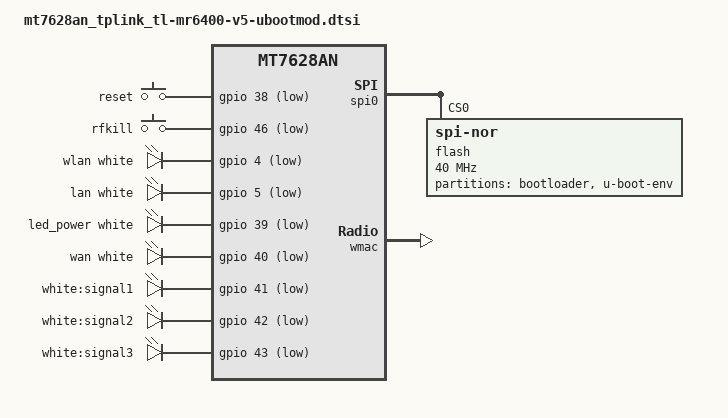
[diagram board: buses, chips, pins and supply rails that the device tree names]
// SPDX-License-Identifier: GPL-2.0-or-later OR MIT

#include "mt7628an.dtsi"

#include <dt-bindings/gpio/gpio.h>
#include <dt-bindings/input/input.h>
#include <dt-bindings/leds/common.h>

/ {
	chosen {
		bootargs = "console=ttyS0,115200";
	};

	aliases {
		led-boot = &led_power;
		led-failsafe = &led_power;
		led-running = &led_power;
		led-upgrade = &led_power;
	};

	keys {
		compatible = "gpio-keys";

		reset {
			label = "reset";
			gpios = <&gpio 38 GPIO_ACTIVE_LOW>;
			linux,code = <KEY_RESTART>;
		};

		rfkill {
			label = "rfkill";
			gpios = <&gpio 46 GPIO_ACTIVE_LOW>;
			linux,code = <KEY_RFKILL>;
		};
	};

	leds {
		compatible = "gpio-leds";

		wlan {
			function = LED_FUNCTION_WLAN;
			color = <LED_COLOR_ID_WHITE>;
			gpios = <&gpio 4 GPIO_ACTIVE_LOW>;
			linux,default-trigger = "phy0tpt";
		};

		lan {
			function = LED_FUNCTION_LAN;
			color = <LED_COLOR_ID_WHITE>;
			gpios = <&gpio 5 GPIO_ACTIVE_LOW>;
		};

		led_power: power {
			function = LED_FUNCTION_POWER;
			color = <LED_COLOR_ID_WHITE>;
			gpios = <&gpio 39 GPIO_ACTIVE_LOW>;
			default-state = "on";
		};

		wan {
			function = LED_FUNCTION_WAN;
			color = <LED_COLOR_ID_WHITE>;
			gpios = <&gpio 40 GPIO_ACTIVE_LOW>;
		};

		signal1 {
			label = "white:signal1";
			gpios = <&gpio 41 GPIO_ACTIVE_LOW>;
		};

		signal2 {
			label = "white:signal2";
			gpios = <&gpio 42 GPIO_ACTIVE_LOW>;
		};

		signal3 {
			label = "white:signal3";
			gpios = <&gpio 43 GPIO_ACTIVE_LOW>;
		};
	};
};

&state_default {
	gpio {
		groups = "i2c", "p0led_an", "p1led_an", "p2led_an", "p3led_an", "p4led_an", "uart1", "wdt";
		function = "gpio";
	};
};

&spi0 {
	status = "okay";

	flash@0 {
		compatible = "jedec,spi-nor";
		reg = <0>;
		spi-max-frequency = <40000000>;

		partitions {
			compatible = "fixed-partitions";
			#address-cells = <1>;
			#size-cells = <1>;

			partition@0 {
				label = "bootloader";
				reg = <0x000000 0x030000>;
				read-only;
			};

			partition@30000 {
				label = "u-boot-env";
				reg = <0x030000 0x010000>;
			};
		};
	};
};

&esw {
	mediatek,portmap = <0x37>;
	mediatek,portdisable = <0x30>;
};

&wmac {
	status = "okay";
};

/*
 * The USB controller only served the LTE modem, which has been
 * removed from the board in this variant.
 */
&ehci {
	status = "disabled";
};

&ohci {
	status = "disabled";
};
